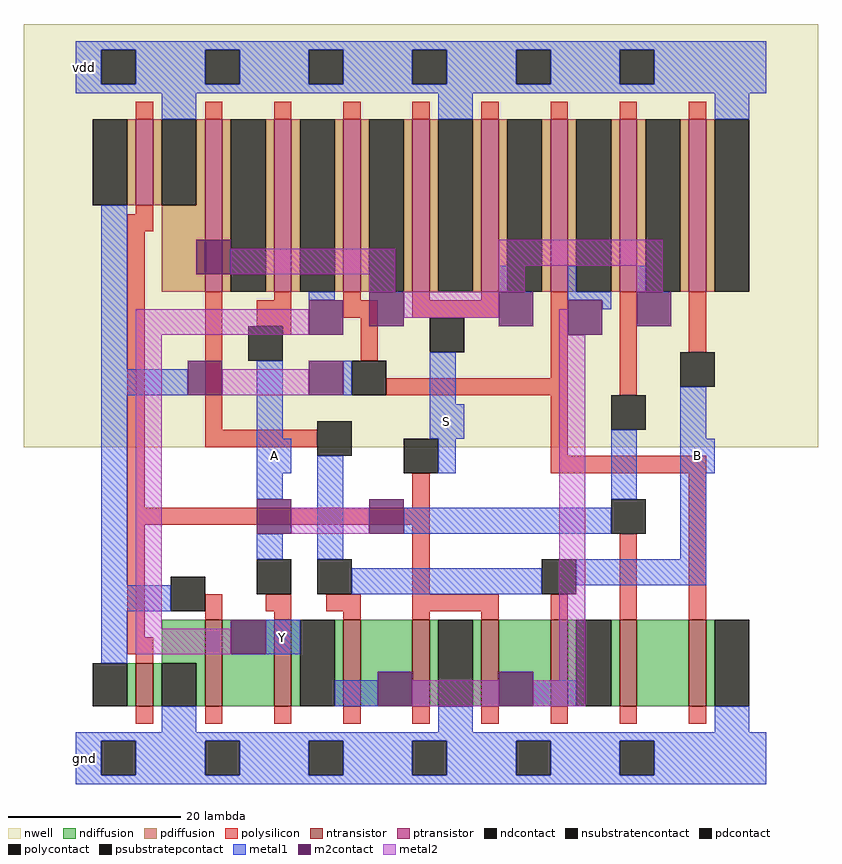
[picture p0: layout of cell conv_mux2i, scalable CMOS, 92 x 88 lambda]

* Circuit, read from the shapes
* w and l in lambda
.subckt conv_mux2i A B S Y vdd gnd
M1 gnd S n1 gnd nfet w=5 l=2
M2 n2 n1 gnd gnd nfet w=10 l=2
M3 Y A n2 gnd nfet w=10 l=2
M4 n3 B Y gnd nfet w=10 l=2
M5 gnd S n3 gnd nfet w=10 l=2
M6 n4 S gnd gnd nfet w=10 l=2
M7 Y B n4 gnd nfet w=10 l=2
M8 n5 A Y gnd nfet w=10 l=2
M9 gnd n1 n5 gnd nfet w=10 l=2
M10 vdd S n1 vdd pfet w=10 l=2
M11 n6 B vdd vdd pfet w=20 l=2 m=2
M12 Y A n6 vdd pfet w=20 l=2 m=2
M13 n6 n1 Y vdd pfet w=20 l=2 m=2
M14 vdd S n6 vdd pfet w=20 l=2 m=2
.ends

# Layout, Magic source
magic
tech scmos
<< nwell >>
rect -6 36 86 85
<< ndiffusion >>
rect 6 6 7 11
rect 9 6 10 11
rect 14 6 15 11
rect 17 6 23 16
rect 25 6 26 16
rect 30 6 31 16
rect 33 6 39 16
rect 41 6 42 16
rect 46 6 47 16
rect 49 6 55 16
rect 57 6 58 16
rect 62 6 63 16
rect 65 6 71 16
rect 73 6 74 16
rect 10 11 15 16
<< pdiffusion >>
rect 10 54 15 64
rect 17 54 18 74
rect 22 54 23 74
rect 25 54 26 74
rect 30 54 31 74
rect 33 54 34 74
rect 38 54 39 74
rect 41 54 42 74
rect 46 54 47 74
rect 49 54 50 74
rect 54 54 55 74
rect 57 54 58 74
rect 62 54 63 74
rect 65 54 66 74
rect 70 54 71 74
rect 73 54 74 74
rect 6 64 7 74
rect 9 64 10 74
rect 14 64 15 74
<< polysilicon >>
rect 7 4 9 6
rect 15 4 17 6
rect 23 4 25 6
rect 31 4 33 6
rect 39 4 41 6
rect 47 4 49 6
rect 55 4 57 6
rect 63 4 65 6
rect 71 4 73 6
rect 7 11 9 12
rect 6 12 9 14
rect 6 14 8 27
rect 15 16 17 19
rect 23 16 25 17
rect 31 16 33 17
rect 39 16 41 17
rect 47 16 49 17
rect 55 16 57 19
rect 63 16 65 26
rect 71 16 73 33
rect 22 17 25 19
rect 29 17 33 19
rect 39 17 49 19
rect 39 19 41 27
rect 6 27 41 29
rect 6 29 8 61
rect 39 29 41 33
rect 55 33 73 35
rect 55 35 57 42
rect 15 36 28 38
rect 15 38 17 54
rect 36 42 57 44
rect 63 42 65 54
rect 55 44 57 54
rect 33 46 35 51
rect 71 47 73 54
rect 24 49 25 50
rect 21 50 25 53
rect 31 51 35 53
rect 39 51 49 53
rect 23 53 25 54
rect 31 53 33 54
rect 39 53 41 54
rect 47 53 49 54
rect 6 61 9 63
rect 7 63 9 64
rect 7 74 9 76
rect 15 74 17 76
rect 23 74 25 76
rect 31 74 33 76
rect 39 74 41 76
rect 47 74 49 76
rect 55 74 57 76
rect 63 74 65 76
rect 71 74 73 76
<< ntransistor >>
rect 7 6 9 11
rect 15 6 17 16
rect 23 6 25 16
rect 31 6 33 16
rect 39 6 41 16
rect 47 6 49 16
rect 55 6 57 16
rect 63 6 65 16
rect 71 6 73 16
<< ptransistor >>
rect 15 54 17 74
rect 23 54 25 74
rect 31 54 33 74
rect 39 54 41 74
rect 47 54 49 74
rect 55 54 57 74
rect 63 54 65 74
rect 71 54 73 74
rect 7 64 9 74
<< ndcontact >>
rect 2 6 6 11
rect 10 6 14 11
rect 26 6 30 16
rect 42 6 46 16
rect 58 6 62 16
rect 74 6 78 16
<< pdcontact >>
rect 18 54 22 74
rect 26 54 30 74
rect 34 54 38 74
rect 42 54 46 74
rect 50 54 54 74
rect 58 54 62 74
rect 66 54 70 74
rect 74 54 78 74
rect 2 64 6 74
rect 10 64 14 74
<< polycontact >>
rect 11 17 15 21
rect 21 19 25 23
rect 28 19 32 23
rect 54 19 58 23
rect 62 26 66 30
rect 38 33 42 37
rect 28 35 32 39
rect 62 38 66 42
rect 32 42 36 46
rect 70 43 74 47
rect 20 46 24 50
rect 41 47 45 51
<< psubstratepcontact >>
rect 3 -2 7 2
rect 15 -2 19 2
rect 27 -2 31 2
rect 39 -2 43 2
rect 51 -2 55 2
rect 63 -2 67 2
<< nsubstratencontact >>
rect 3 78 7 82
rect 15 78 19 82
rect 27 78 31 82
rect 39 78 43 82
rect 51 78 55 82
rect 63 78 67 82
<< metal1 >>
rect 0 -3 80 -2
rect 0 -2 3 2
rect 7 -2 15 2
rect 19 -2 27 2
rect 31 -2 39 2
rect 43 -2 51 2
rect 55 -2 63 2
rect 67 -2 80 2
rect 0 2 80 3
rect 10 3 14 6
rect 42 3 46 6
rect 74 3 78 6
rect 30 6 35 9
rect 53 6 58 9
rect 3 11 6 17
rect 22 12 26 16
rect 3 17 11 20
rect 32 19 54 22
rect 3 20 6 42
rect 58 20 73 23
rect 21 23 24 26
rect 28 23 31 35
rect 70 23 73 33
rect 38 26 62 29
rect 21 30 24 33
rect 62 30 65 38
rect 21 33 25 37
rect 42 33 44 37
rect 70 33 74 37
rect 21 37 24 46
rect 41 37 45 41
rect 70 37 73 43
rect 41 41 44 47
rect 3 42 13 45
rect 31 42 32 46
rect 3 45 6 64
rect 61 52 62 53
rect 27 53 30 54
rect 57 53 62 54
rect 49 54 50 57
rect 57 54 58 57
rect 65 54 66 57
rect 10 74 14 77
rect 42 74 46 77
rect 74 74 78 77
rect 0 77 80 78
rect 0 78 3 82
rect 7 78 15 82
rect 19 78 27 82
rect 31 78 39 82
rect 43 78 51 82
rect 55 78 63 82
rect 67 78 80 82
rect 0 82 80 83
<< m2contact >>
rect 35 6 39 10
rect 49 6 53 10
rect 18 12 22 16
rect 21 26 25 30
rect 34 26 38 30
rect 13 42 17 46
rect 27 42 31 46
rect 27 49 31 53
rect 57 49 61 53
rect 34 50 38 54
rect 49 50 53 54
rect 65 50 69 54
rect 14 56 18 60
<< metal2 >>
rect 39 6 49 9
rect 53 6 59 9
rect 56 9 59 49
rect 7 12 18 15
rect 7 15 10 49
rect 25 26 34 29
rect 17 42 27 45
rect 7 49 27 52
rect 56 49 57 52
rect 38 51 49 54
rect 34 54 37 56
rect 49 54 52 57
rect 65 54 68 57
rect 18 56 37 59
rect 49 57 68 60
<< labels >>
rlabel metal1 s 21 33 25 37 0 A
port 1 nsew signal input
rlabel metal1 s 70 33 74 37 0 B
port 2 nsew signal input
rlabel metal1 s 41 37 45 41 0 S
port 3 nsew signal input
rlabel metal1 s 22 12 26 16 0 Y
port 4 nsew signal output
rlabel metal1 s 0 77 2 83 0 vdd
port 5 nsew power bidirectional
rlabel metal1 s 0 -3 2 3 0 gnd
port 6 nsew ground bidirectional
<< properties >>
string FIXED_BBOX 0 0 80 80
<< end >>
